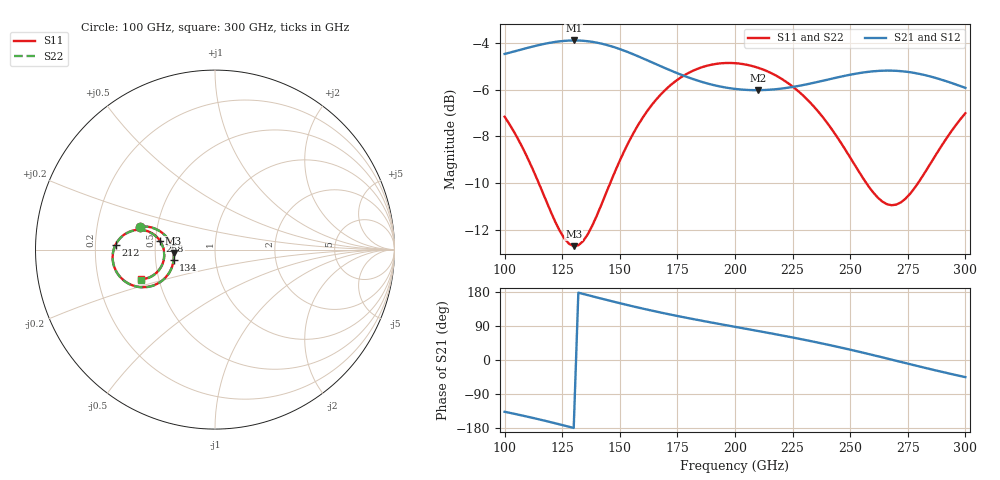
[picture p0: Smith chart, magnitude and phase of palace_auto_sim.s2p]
#  GHZ S DB R 50
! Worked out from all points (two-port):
!   101 points, 100 GHz to 300 GHz, reference 50 ohm
!   highest |S21| = -3.88 dB at 130 GHz (marker M1); lowest = -6.0 dB at 210 GHz (marker M2)
!   |S21| within 3 dB of the highest: start of sweep to end of sweep
!   lowest |S11| = -12.7 dB at 130 GHz (marker M3), VSWR 1.60, Z = 31.2 - j1.21 ohm
!   |S11| at or under -10 dB: 114.8 GHz to 145.8 GHz (31.04 GHz wide, 23.8 % of centre); 257 GHz to 279.5 GHz (22.46 GHz wide, 8.38 % of centre)
!   |S22| runs from -12.7 to -4.8 dB; largest |S21 - S12| = 8.7e-14
!   S11 on the Smith chart (normalised r, x): 100 GHz: 0.40, +0.13; 134 GHz: 0.62, -0.07; 212 GHz: 0.29, +0.02; 258 GHz: 0.53, +0.06; 300 GHz: 0.39, -0.16
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100  -7.15 163.0  -4.46 -136.6  -4.46 -136.6  -7.15 163.1
114  -9.81 161.5  -4.10 -155.3  -4.10 -155.3  -9.81 161.6
124  -12.07 171.8  -3.92 -170.0  -3.92 -170.0  -12.06 171.9
130  -12.71 -175.5  -3.88 -179.3  -3.88 -179.3  -12.71 -175.4
134  -12.50 -166.3  -3.89 174.5  -3.89 174.5  -12.50 -166.2
142  -10.93 -153.4  -4.02 162.1  -4.02 162.1  -10.93 -153.3
152  -8.61 -149.4  -4.32 147.0  -4.32 147.0  -8.61 -149.3
160  -7.19 -151.5  -4.65 135.6  -4.65 135.6  -7.18 -151.4
168  -6.18 -155.6  -5.00 125.0  -5.00 125.0  -6.17 -155.5
184  -5.09 -165.6  -5.61 105.5  -5.61 105.5  -5.08 -165.5
200  -4.85 -175.7  -5.96 87.6  -5.96 87.6  -4.85 -175.5
210  -5.05 178.3  -6.01 76.5  -6.01 76.5  -5.04 178.5
212  -5.12 177.1  -6.01 74.3  -6.01 74.3  -5.11 177.3
224  -5.78 170.7  -5.89 60.6  -5.89 60.6  -5.77 170.9
234  -6.69 166.5  -5.70 48.4  -5.70 48.4  -6.68 166.8
246  -8.28 164.8  -5.43 32.7  -5.43 32.7  -8.26 165.0
258  -10.15 170.7  -5.23 15.8  -5.23 15.8  -10.13 170.9
268  -10.95 -176.5  -5.18 0.9  -5.18 0.9  -10.93 -176.3
274  -10.67 -168.0  -5.22 -8.1  -5.22 -8.1  -10.65 -167.8
282  -9.62 -160.2  -5.36 -20.0  -5.36 -20.0  -9.60 -160.0
292  -8.05 -157.1  -5.64 -34.3  -5.64 -34.3  -8.04 -156.9
300  -7.00 -158.3  -5.92 -45.3  -5.92 -45.3  -6.99 -158.1
